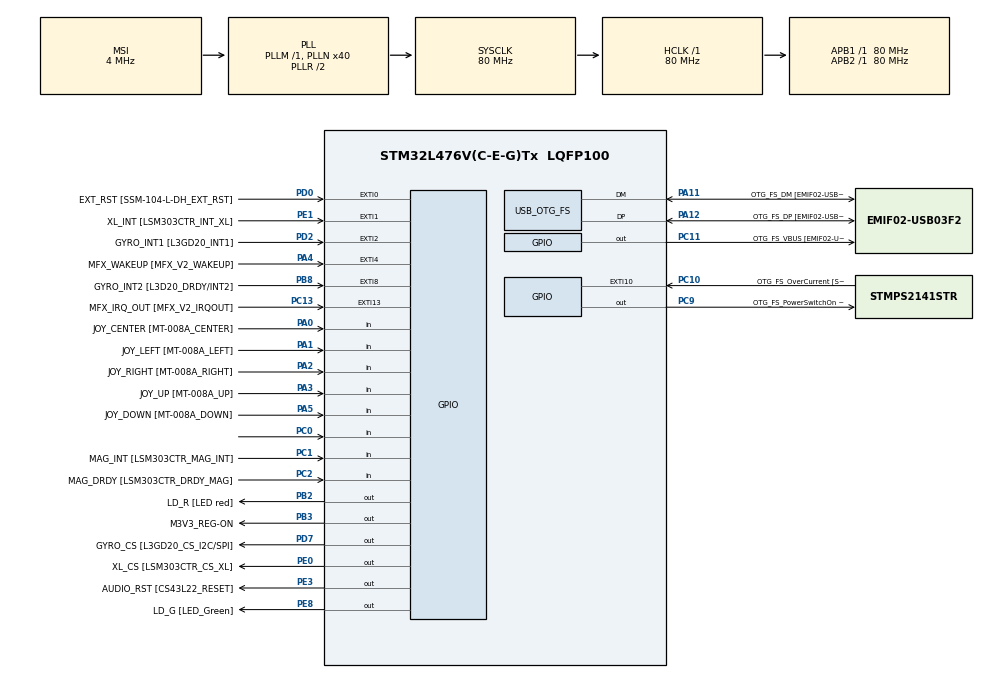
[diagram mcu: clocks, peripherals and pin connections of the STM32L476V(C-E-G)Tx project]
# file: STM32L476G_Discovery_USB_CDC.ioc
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Mcu.Family=STM32L4
Mcu.Name=STM32L476V(C-E-G)Tx
Mcu.Package=LQFP100
NVIC.OTG_FS_IRQn=true\:0\:0\:false\:false\:true
NVIC.PriorityGroup=NVIC_PRIORITYGROUP_4
PA0.GPIO_Label=JOY_CENTER [MT-008A_CENTER]
PA0.GPIO_Mode=GPIO_MODE_INPUT
PA0.GPIO_PuPd=GPIO_PULLDOWN
PA0.Signal=GPIO_Input
PA1.GPIO_Label=JOY_LEFT [MT-008A_LEFT]
PA1.GPIO_Mode=GPIO_MODE_INPUT
PA1.GPIO_PuPd=GPIO_PULLDOWN
PA1.Signal=GPIO_Input
PA10.GPIO_Label=COM2 [GH08172T_COM2]
PA10.GPIO_Mode=GPIO_MODE_AF_PP
PA10.GPIO_PuPd=GPIO_NOPULL
PA10.GPIO_Speed=GPIO_SPEED_FREQ_LOW
PA10.Signal=LCD_COM2
PA11.GPIO_Label=OTG_FS_DM [EMIF02-USB03F2_D-out]
PA11.GPIO_Mode=GPIO_MODE_AF_PP
PA11.GPIO_PuPd=GPIO_NOPULL
PA11.GPIO_Speed=GPIO_SPEED_FREQ_VERY_HIGH
PA11.Mode=Device_Only
PA11.Signal=USB_OTG_FS_DM
PA12.GPIO_Label=OTG_FS_DP [EMIF02-USB03F2_D+out]
PA12.GPIO_Mode=GPIO_MODE_AF_PP
PA12.GPIO_PuPd=GPIO_NOPULL
PA12.GPIO_Speed=GPIO_SPEED_FREQ_VERY_HIGH
PA12.Mode=Device_Only
PA12.Signal=USB_OTG_FS_DP
PA13.GPIO_Label=SWDIO
PA13.Signal=SYS_JTMS-SWDIO
PA14.GPIO_Label=SWCLK
PA14.Signal=SYS_JTCK-SWCLK
PA15.GPIO_Label=SEG10 [GH08172T_SEG10]
PA15.GPIO_Mode=GPIO_MODE_AF_PP
PA15.GPIO_PuPd=GPIO_NOPULL
PA15.GPIO_Speed=GPIO_SPEED_FREQ_LOW
PA15.Signal=LCD_SEG17
PA2.GPIO_Label=JOY_RIGHT [MT-008A_RIGHT]
PA2.GPIO_Mode=GPIO_MODE_INPUT
PA2.GPIO_PuPd=GPIO_PULLDOWN
PA2.Signal=GPIO_Input
PA3.GPIO_Label=JOY_UP [MT-008A_UP]
PA3.GPIO_Mode=GPIO_MODE_INPUT
PA3.GPIO_PuPd=GPIO_PULLDOWN
PA3.Signal=GPIO_Input
PA4.GPIO_Label=MFX_WAKEUP [MFX_V2_WAKEUP]
PA4.GPIO_ModeDefaultEXTI=GPIO_MODE_EVT_RISING
PA4.GPIO_PuPd=GPIO_NOPULL
PA4.Signal=GPXTI4
PA5.GPIO_Label=JOY_DOWN [MT-008A_DOWN]
PA5.GPIO_Mode=GPIO_MODE_INPUT
PA5.GPIO_PuPd=GPIO_PULLDOWN
PA5.Signal=GPIO_Input
PA6.GPIO_Label=SEG23 [GH08172T_SEG23]
PA6.GPIO_Mode=GPIO_MODE_AF_PP
PA6.GPIO_PuPd=GPIO_NOPULL
PA6.GPIO_Speed=GPIO_SPEED_FREQ_LOW
PA6.Signal=LCD_SEG3
PA7.GPIO_Label=SEG0 [GH08172T_SEG0]
PA7.GPIO_Mode=GPIO_MODE_AF_PP
PA7.GPIO_PuPd=GPIO_NOPULL
PA7.GPIO_Speed=GPIO_SPEED_FREQ_LOW
PA7.Signal=LCD_SEG4
PA8.GPIO_Label=COM0 [GH08172T_COM0]
PA8.GPIO_Mode=GPIO_MODE_AF_PP
PA8.GPIO_PuPd=GPIO_NOPULL
PA8.GPIO_Speed=GPIO_SPEED_FREQ_LOW
PA8.Signal=LCD_COM0
PA9.GPIO_Label=COM1 [GH08172T_COM1]
PA9.GPIO_Mode=GPIO_MODE_AF_PP
PA9.GPIO_PuPd=GPIO_NOPULL
PA9.GPIO_Speed=GPIO_SPEED_FREQ_LOW
PA9.Signal=LCD_COM1
PB0.GPIO_Label=SEG21 [GH08172T_SEG21]
PB0.GPIO_Mode=GPIO_MODE_AF_PP
PB0.GPIO_PuPd=GPIO_NOPULL
PB0.GPIO_Speed=GPIO_SPEED_FREQ_LOW
PB0.Signal=LCD_SEG5
PB1.GPIO_Label=SEG2 [GH08172T_SEG2]
PB1.GPIO_Mode=GPIO_MODE_AF_PP
PB1.GPIO_PuPd=GPIO_NOPULL
PB1.GPIO_Speed=GPIO_SPEED_FREQ_LOW
PB1.Signal=LCD_SEG6
PB10.GPIO_Label=MFX_I2C_SLC [MFX_V2_I2C_SCL]
PB10.GPIO_Mode=GPIO_MODE_AF_OD
PB10.GPIO_PuPdOD=GPIO_PULLUP
PB10.GPIO_Speed=GPIO_SPEED_FREQ_VERY_HIGH
PB10.Signal=I2C2_SCL
PB11.GPIO_Label=MFX_I2C_SDA [MFX_V2_I2C_SDA]
PB11.GPIO_Mode=GPIO_MODE_AF_OD
PB11.GPIO_PuPdOD=GPIO_PULLUP
PB11.GPIO_Speed=GPIO_SPEED_FREQ_VERY_HIGH
PB11.Signal=I2C2_SDA
PB12.GPIO_Label=SEG20 [GH08172T_SEG20]
PB12.GPIO_Mode=GPIO_MODE_AF_PP
PB12.GPIO_PuPd=GPIO_NOPULL
PB12.GPIO_Speed=GPIO_SPEED_FREQ_LOW
PB12.Signal=LCD_SEG12
PB13.GPIO_Label=SEG3 [GH08172T_SEG3]
PB13.GPIO_Mode=GPIO_MODE_AF_PP
PB13.GPIO_PuPd=GPIO_NOPULL
PB13.GPIO_Speed=GPIO_SPEED_FREQ_LOW
PB13.Signal=LCD_SEG13
PB14.GPIO_Label=SEG19 [GH08172T_SEG19]
PB14.GPIO_Mode=GPIO_MODE_AF_PP
PB14.GPIO_PuPd=GPIO_NOPULL
PB14.GPIO_Speed=GPIO_SPEED_FREQ_LOW
PB14.Signal=LCD_SEG14
PB15.GPIO_Label=SEG4 [GH08172T_SEG4]
PB15.GPIO_Mode=GPIO_MODE_AF_PP
PB15.GPIO_PuPd=GPIO_NOPULL
PB15.GPIO_Speed=GPIO_SPEED_FREQ_LOW
PB15.Signal=LCD_SEG15
PB2.GPIO_Label=LD_R [LED red]
PB2.GPIO_ModeDefaultOutputPP=GPIO_MODE_OUTPUT_PP
PB2.GPIO_PuPd=GPIO_PULLUP
PB2.GPIO_Speed=GPIO_SPEED_FREQ_VERY_HIGH
PB2.Signal=GPIO_Output
PB3.GPIO_Label=M3V3_REG-ON
PB3.GPIO_ModeDefaultOutputPP=GPIO_MODE_OUTPUT_PP
PB3.GPIO_PuPd=GPIO_NOPULL
PB3.GPIO_Speed=GPIO_SPEED_FREQ_LOW
PB3.Signal=GPIO_Output
PB4.GPIO_Label=SEG11 [GH08172T_SEG11]
PB4.GPIO_Mode=GPIO_MODE_AF_PP
PB4.GPIO_PuPd=GPIO_NOPULL
PB4.GPIO_Speed=GPIO_SPEED_FREQ_LOW
PB4.Signal=LCD_SEG8
PB5.GPIO_Label=SEG12 [GH08172T_SEG12]
PB5.GPIO_Mode=GPIO_MODE_AF_PP
PB5.GPIO_PuPd=GPIO_NOPULL
PB5.GPIO_Speed=GPIO_SPEED_FREQ_LOW
PB5.Signal=LCD_SEG9
PB6.GPIO_FM6=__NULL
PB6.GPIO_Label=I2C1_SCL [SSM-104-L-DH_SCL]
PB6.GPIO_Mode=GPIO_MODE_AF_OD
PB6.GPIO_PuPdOD=GPIO_PULLUP
PB6.GPIO_Speed=GPIO_SPEED_FREQ_VERY_HIGH
PB6.Signal=I2C1_SCL
PB7.GPIO_FM7=__NULL
PB7.GPIO_Label=I2C1_SDA [SSM-104-L-DH_SDA]
PB7.GPIO_Mode=GPIO_MODE_AF_OD
PB7.GPIO_PuPdOD=GPIO_PULLUP
PB7.GPIO_Speed=GPIO_SPEED_FREQ_VERY_HIGH
PB7.Signal=I2C1_SDA
PB8.GPIO_Label=GYRO_INT2 [L3D20_DRDY/INT2]
PB8.GPIO_ModeDefaultEXTI=GPIO_MODE_EVT_RISING
PB8.GPIO_PuPd=GPIO_NOPULL
PB8.Signal=GPXTI8
PB9.GPIO_FM9=__NULL
PB9.GPIO_Label=COM3 [GH08172T_COM3]
PB9.GPIO_Mode=GPIO_MODE_AF_PP
PB9.GPIO_PuPd=GPIO_NOPULL
PB9.GPIO_Speed=GPIO_SPEED_FREQ_LOW
PB9.Signal=LCD_COM3
PC0.Signal=GPIO_Input
PC1.GPIO_Label=MAG_INT [LSM303CTR_MAG_INT]
PC1.GPIO_Mode=GPIO_MODE_INPUT
PC1.GPIO_PuPd=GPIO_NOPULL
PC1.Signal=GPIO_Input
PC10.GPIO_Label=OTG_FS_OverCurrent [STMPS2141STR_FAULT]
PC10.GPIO_ModeDefaultEXTI=GPIO_MODE_EVT_RISING
PC10.GPIO_PuPd=GPIO_NOPULL
PC10.Signal=GPXTI10
PC11.GPIO_Label=OTG_FS_VBUS [EMIF02-USB03F2_Vbus]
PC11.GPIO_ModeDefaultOutputPP=GPIO_MODE_OUTPUT_PP
PC11.GPIO_PuPd=GPIO_NOPULL
PC11.GPIO_Speed=GPIO_SPEED_FREQ_LOW
PC11.Signal=GPIO_Output
PC13.GPIO_Label=MFX_IRQ_OUT [MFX_V2_IRQOUT]
PC13.GPIO_ModeDefaultEXTI=GPIO_MODE_EVT_RISING
PC13.GPIO_PuPd=GPIO_NOPULL
PC13.Signal=GPXTI13
PC14/OSC32_IN.Signal=RCC_OSC32_IN
PC15/OSC32_OUT.Signal=RCC_OSC32_OUT
PC2.GPIO_Label=MAG_DRDY [LSM303CTR_DRDY_MAG]
PC2.GPIO_Mode=GPIO_MODE_INPUT
PC2.GPIO_PuPd=GPIO_NOPULL
PC2.Signal=GPIO_Input
PC3.GPIO_Label=VLCD
PC3.GPIO_Mode=GPIO_MODE_AF_PP
PC3.GPIO_PuPd=GPIO_NOPULL
PC3.GPIO_Speed=GPIO_SPEED_FREQ_LOW
PC3.Signal=LCD_VLCD
PC4.GPIO_Label=SEG22 [GH08172T_SEG22]
PC4.GPIO_Mode=GPIO_MODE_AF_PP
PC4.GPIO_PuPd=GPIO_NOPULL
PC4.GPIO_Speed=GPIO_SPEED_FREQ_LOW
PC4.Signal=LCD_SEG22
PC5.GPIO_Label=SEG1 [GH08172T_SEG1]
PC5.GPIO_Mode=GPIO_MODE_AF_PP
PC5.GPIO_PuPd=GPIO_NOPULL
PC5.GPIO_Speed=GPIO_SPEED_FREQ_LOW
PC5.Signal=LCD_SEG23
PC6.GPIO_Label=SEG14 [GH08172T_SEG14]
PC6.GPIO_Mode=GPIO_MODE_AF_PP
PC6.GPIO_PuPd=GPIO_NOPULL
PC6.GPIO_Speed=GPIO_SPEED_FREQ_LOW
PC6.Signal=LCD_SEG24
PC7.GPIO_Label=SEG9 [GH08172T_SEG9]
PC7.GPIO_Mode=GPIO_MODE_AF_PP
PC7.GPIO_PuPd=GPIO_NOPULL
PC7.GPIO_Speed=GPIO_SPEED_FREQ_LOW
PC7.Signal=LCD_SEG25
PC8.GPIO_Label=SEG13 [GH08172T_SEG13]
PC8.GPIO_Mode=GPIO_MODE_AF_PP
PC8.GPIO_PuPd=GPIO_NOPULL
PC8.GPIO_Speed=GPIO_SPEED_FREQ_LOW
PC8.Signal=LCD_SEG26
PC9.GPIO_Label=OTG_FS_PowerSwitchOn [STMPS2141STR_EN]
PC9.GPIO_ModeDefaultOutputPP=GPIO_MODE_OUTPUT_PP
PC9.GPIO_PuPd=GPIO_NOPULL
PC9.GPIO_Speed=GPIO_SPEED_FREQ_LOW
PC9.Signal=GPIO_Output
PD0.GPIO_Label=EXT_RST [SSM-104-L-DH_EXT_RST]
PD0.GPIO_ModeDefaultEXTI=GPIO_MODE_EVT_RISING
PD0.GPIO_PuPd=GPIO_NOPULL
PD0.Signal=GPXTI0
PD1.GPIO_Label=MEMS_SCK [L3GD20_SCL/SPC]
PD1.GPIO_Mode=GPIO_MODE_AF_PP
PD1.GPIO_PuPd=GPIO_NOPULL
PD1.GPIO_Speed=GPIO_SPEED_FREQ_VERY_HIGH
PD1.Signal=SPI2_SCK
PD10.GPIO_Label=SEG17 [GH08172T_SEG17]
PD10.GPIO_Mode=GPIO_MODE_AF_PP
PD10.GPIO_PuPd=GPIO_NOPULL
PD10.GPIO_Speed=GPIO_SPEED_FREQ_LOW
PD10.Signal=LCD_SEG30
PD11.GPIO_Label=SEG6 [GH08172T_SEG6]
PD11.GPIO_Mode=GPIO_MODE_AF_PP
PD11.GPIO_PuPd=GPIO_NOPULL
PD11.GPIO_Speed=GPIO_SPEED_FREQ_LOW
PD11.Signal=LCD_SEG31
PD12.GPIO_Label=SEG16 [GH08172T_SEG16]
PD12.GPIO_Mode=GPIO_MODE_AF_PP
PD12.GPIO_PuPd=GPIO_NOPULL
PD12.GPIO_Speed=GPIO_SPEED_FREQ_LOW
PD12.Signal=LCD_SEG32
PD13.GPIO_Label=SEG7 [GH08172T_SEG7]
PD13.GPIO_Mode=GPIO_MODE_AF_PP
PD13.GPIO_PuPd=GPIO_NOPULL
PD13.GPIO_Speed=GPIO_SPEED_FREQ_LOW
PD13.Signal=LCD_SEG33
PD14.GPIO_Label=SEG15 [GH08172T_SEG15]
PD14.GPIO_Mode=GPIO_MODE_AF_PP
PD14.GPIO_PuPd=GPIO_NOPULL
PD14.GPIO_Speed=GPIO_SPEED_FREQ_LOW
PD14.Signal=LCD_SEG34
PD15.GPIO_Label=SEG8 [GH08172T_SEG8]
PD15.GPIO_Mode=GPIO_MODE_AF_PP
PD15.GPIO_PuPd=GPIO_NOPULL
PD15.GPIO_Speed=GPIO_SPEED_FREQ_LOW
PD15.Signal=LCD_SEG35
PD2.GPIO_Label=GYRO_INT1 [L3GD20_INT1]
PD2.GPIO_ModeDefaultEXTI=GPIO_MODE_EVT_RISING
PD2.GPIO_PuPd=GPIO_NOPULL
PD2.Signal=GPXTI2
PD3.GPIO_Label=MEMS_MISO [L3GD20_SA0/SDO]
PD3.GPIO_Mode=GPIO_MODE_AF_PP
PD3.GPIO_PuPd=GPIO_NOPULL
PD3.GPIO_Speed=GPIO_SPEED_FREQ_VERY_HIGH
PD3.Signal=SPI2_MISO
PD4.GPIO_Label=MEMS_MOSI [L3GD20_SDA/SDI/SDO]
PD4.GPIO_Mode=GPIO_MODE_AF_PP
PD4.GPIO_PuPd=GPIO_NOPULL
PD4.GPIO_Speed=GPIO_SPEED_FREQ_VERY_HIGH
PD4.Signal=SPI2_MOSI
PD5.GPIO_Label=USART_TX
PD5.GPIO_Mode=GPIO_MODE_AF_PP
PD5.GPIO_PuPd=GPIO_PULLUP
PD5.GPIO_Speed=GPIO_SPEED_FREQ_VERY_HIGH
PD5.Signal=USART2_TX
PD6.GPIO_Label=USART_RX
PD6.GPIO_Mode=GPIO_MODE_AF_PP
PD6.GPIO_PuPd=GPIO_PULLUP
PD6.GPIO_Speed=GPIO_SPEED_FREQ_VERY_HIGH
PD6.Signal=USART2_RX
PD7.GPIO_Label=GYRO_CS [L3GD20_CS_I2C/SPI]
PD7.GPIO_ModeDefaultOutputPP=GPIO_MODE_OUTPUT_PP
PD7.GPIO_PuPd=GPIO_NOPULL
PD7.GPIO_Speed=GPIO_SPEED_FREQ_VERY_HIGH
PD7.Signal=GPIO_Output
PD8.GPIO_Label=SEG18 [GH08172T_SEG18]
PD8.GPIO_Mode=GPIO_MODE_AF_PP
PD8.GPIO_PuPd=GPIO_NOPULL
PD8.GPIO_Speed=GPIO_SPEED_FREQ_LOW
PD8.Signal=LCD_SEG28
PD9.GPIO_Label=SEG5 [GH08172T_SEG5]
PD9.GPIO_Mode=GPIO_MODE_AF_PP
PD9.GPIO_PuPd=GPIO_NOPULL
PD9.GPIO_Speed=GPIO_SPEED_FREQ_LOW
PD9.Signal=LCD_SEG29
PE0.GPIO_Label=XL_CS [LSM303CTR_CS_XL]
PE0.GPIO_ModeDefaultOutputPP=GPIO_MODE_OUTPUT_PP
PE0.GPIO_PuPd=GPIO_NOPULL
PE0.GPIO_Speed=GPIO_SPEED_FREQ_LOW
PE0.Signal=GPIO_Output
PE1.GPIO_Label=XL_INT [LSM303CTR_INT_XL]
PE1.GPIO_ModeDefaultEXTI=GPIO_MODE_EVT_RISING
PE1.GPIO_PuPd=GPIO_NOPULL
PE1.Signal=GPXTI1
PE10.GPIO_Label=QSPI_CLK [N25Q128A13EF840E_C]
PE10.GPIO_Mode=GPIO_MODE_AF_PP
PE10.GPIO_PuPd=GPIO_NOPULL
PE10.GPIO_Speed=GPIO_SPEED_FREQ_VERY_HIGH
PE10.Signal=QUADSPI_CLK
PE11.GPIO_Label=QSPI_CS [N25Q128A13EF840E_S\#]
PE11.GPIO_Mode=GPIO_MODE_AF_PP
PE11.GPIO_PuPd=GPIO_NOPULL
PE11.GPIO_Speed=GPIO_SPEED_FREQ_VERY_HIGH
PE11.Signal=QUADSPI_NCS
PE12.GPIO_Label=QSPI_D0 [N25Q128A13EF840E_DQ0]
PE12.GPIO_Mode=GPIO_MODE_AF_PP
PE12.GPIO_PuPd=GPIO_NOPULL
PE12.GPIO_Speed=GPIO_SPEED_FREQ_VERY_HIGH
PE12.Signal=QUADSPI_BK1_IO0
PE13.GPIO_Label=QSPI_D1 [N25Q128A13EF840E_DQ1]
PE13.GPIO_Mode=GPIO_MODE_AF_PP
PE13.GPIO_PuPd=GPIO_NOPULL
PE13.GPIO_Speed=GPIO_SPEED_FREQ_VERY_HIGH
PE13.Signal=QUADSPI_BK1_IO1
PE14.GPIO_Label=QSPI_D2 [N25Q128A13EF840E_DQ2]
PE14.GPIO_Mode=GPIO_MODE_AF_PP
PE14.GPIO_PuPd=GPIO_NOPULL
PE14.GPIO_Speed=GPIO_SPEED_FREQ_VERY_HIGH
PE14.Signal=QUADSPI_BK1_IO2
PE15.GPIO_Label=QSPI_D3 [N25Q128A13EF840E_DQ3]
PE15.GPIO_Mode=GPIO_MODE_AF_PP
PE15.GPIO_PuPd=GPIO_NOPULL
PE15.GPIO_Speed=GPIO_SPEED_FREQ_VERY_HIGH
PE15.Signal=QUADSPI_BK1_IO3
PE2.GPIO_Label=SAI1_MCK [CS43L22_MCLK]
PE2.GPIO_Mode=GPIO_MODE_AF_PP
PE2.GPIO_PuPd=GPIO_NOPULL
PE2.GPIO_Speed=GPIO_SPEED_FREQ_VERY_HIGH
PE2.Signal=SAI1_MCLK_A
PE3.GPIO_Label=AUDIO_RST [CS43L22_RESET]
PE3.GPIO_ModeDefaultOutputPP=GPIO_MODE_OUTPUT_PP
PE3.GPIO_PuPd=GPIO_NOPULL
PE3.GPIO_Speed=GPIO_SPEED_FREQ_HIGH
PE3.Signal=GPIO_Output
PE4.GPIO_Label=SAI1_FS [CS43L22_LRCK]
PE4.GPIO_Mode=GPIO_MODE_AF_PP
PE4.GPIO_PuPd=GPIO_NOPULL
PE4.GPIO_Speed=GPIO_SPEED_FREQ_VERY_HIGH
PE4.Signal=SAI1_FS_A
PE5.GPIO_Label=SAI1_SCK [CS43L22_SCLK]
PE5.GPIO_Mode=GPIO_MODE_AF_PP
PE5.GPIO_PuPd=GPIO_NOPULL
PE5.GPIO_Speed=GPIO_SPEED_FREQ_VERY_HIGH
PE5.Signal=SAI1_SCK_A
PE6.GPIO_Label=SAI1_SD [CS43L22_SDIN]
PE6.GPIO_Mode=GPIO_MODE_AF_PP
PE6.GPIO_PuPd=GPIO_NOPULL
PE6.GPIO_Speed=GPIO_SPEED_FREQ_VERY_HIGH
PE6.Signal=SAI1_SD_A
PE7.GPIO_Label=AUDIO_DIN [MP34DT01_DOUT]
PE7.GPIO_Mode=GPIO_MODE_AF_PP
PE7.GPIO_PuPd=GPIO_NOPULL
PE7.GPIO_Speed=GPIO_SPEED_FREQ_VERY_HIGH
PE7.Signal=SAI1_SD_B
PE8.GPIO_Label=LD_G [LED_Green]
PE8.GPIO_ModeDefaultOutputPP=GPIO_MODE_OUTPUT_PP
PE8.GPIO_PuPd=GPIO_PULLUP
PE8.GPIO_Speed=GPIO_SPEED_FREQ_VERY_HIGH
PE8.Signal=GPIO_Output
PE9.GPIO_Label=AUDIO_CLK [MP34DT01_CLK]
PE9.GPIO_Mode=GPIO_MODE_AF_PP
PE9.GPIO_PuPd=GPIO_NOPULL
PE9.GPIO_Speed=GPIO_SPEED_FREQ_LOW
PE9.Signal=SAI1_FS_B
PH0/OSC_IN.Signal=RCC_OSC_IN
PH1/OSC_OUT.Signal=RCC_OSC_OUT
ProjectManager.HeapSize=0x200
ProjectManager.StackSize=0x400
ProjectManager.TargetToolchain=SW4STM32
RCC.ADCFreq_Value=48000000
RCC.AHBFreq_Value=80000000
RCC.APB1Freq_Value=80000000
RCC.APB1TimFreq_Value=80000000
RCC.APB2Freq_Value=80000000
RCC.APB2TimFreq_Value=80000000
RCC.CortexFreq_Value=80000000
RCC.HCLKFreq_Value=80000000
RCC.HSE_VALUE=8000000
RCC.HSI_VALUE=16000000
RCC.LSE_VALUE=32768
RCC.MSI_VALUE=4000000
RCC.PLLN=40
RCC.PLLSAI1N=24
RCC.PREFETCH_ENABLE=1
RCC.SYSCLKFreq_VALUE=80000000
RCC.SYSCLKSource=RCC_SYSCLKSOURCE_PLLCLK
RCC.USBFreq_Value=48000000
RCC.VCOOutputFreq_Value=160000000
USB_DEVICE.CLASS_NAME_FS=CDC
USB_DEVICE.USBD_HandleTypeDef=hUsbDeviceFS
USB_DEVICE.USBD_LPM_ENABLED=0
USB_DEVICE.VirtualMode=Cdc
USB_DEVICE.VirtualModeFS=Cdc_FS
USB_OTG_FS.VirtualMode=Device_Only
USB_OTG_FS.vbus_sensing_enable=DISABLE
VP_USB_DEVICE_VS_USB_DEVICE_CDC_FS.Mode=CDC_FS
board=STM32L476G-DISCO

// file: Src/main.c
/**
  ******************************************************************************
  * File Name          : main.c
  * Description        : Main program body
  ******************************************************************************
  *
  * COPYRIGHT(c) 2016 STMicroelectronics
  *
  * Redistribution and use in source and binary forms, with or without modification,
  * are permitted provided that the following conditions are met:
  *   1. Redistributions of source code must retain the above copyright notice,
  *      this list of conditions and the following disclaimer.
  *   2. Redistributions in binary form must reproduce the above copyright notice,
  *      this list of conditions and the following disclaimer in the documentation
  *      and/or other materials provided with the distribution.
  *   3. Neither the name of STMicroelectronics nor the names of its contributors
  *      may be used to endorse or promote products derived from this software
  *      without specific prior written permission.
  *
  * THIS SOFTWARE IS PROVIDED BY THE COPYRIGHT HOLDERS AND CONTRIBUTORS "AS IS"
  * AND ANY EXPRESS OR IMPLIED WARRANTIES, INCLUDING, BUT NOT LIMITED TO, THE
  * IMPLIED WARRANTIES OF MERCHANTABILITY AND FITNESS FOR A PARTICULAR PURPOSE ARE
  * DISCLAIMED. IN NO EVENT SHALL THE COPYRIGHT HOLDER OR CONTRIBUTORS BE LIABLE
  * FOR ANY DIRECT, INDIRECT, INCIDENTAL, SPECIAL, EXEMPLARY, OR CONSEQUENTIAL
  * DAMAGES (INCLUDING, BUT NOT LIMITED TO, PROCUREMENT OF SUBSTITUTE GOODS OR
  * SERVICES; LOSS OF USE, DATA, OR PROFITS; OR BUSINESS INTERRUPTION) HOWEVER
  * CAUSED AND ON ANY THEORY OF LIABILITY, WHETHER IN CONTRACT, STRICT LIABILITY,
  * OR TORT (INCLUDING NEGLIGENCE OR OTHERWISE) ARISING IN ANY WAY OUT OF THE USE
  * OF THIS SOFTWARE, EVEN IF ADVISED OF THE POSSIBILITY OF SUCH DAMAGE.
  *
  ******************************************************************************
  */
#include "stm32l4xx_hal.h"
#include "usb_device.h"
#include "gpio.h"

/* USER CODE BEGIN Includes */
#include <stdio.h>
#include <stdlib.h>
/* USER CODE END Includes */

/* USER CODE BEGIN PV */
/* Private variables ---------------------------------------------------------*/

/* USER CODE END PV */

void SystemClock_Config(void);
void Error_Handler(void);

/* USER CODE BEGIN PFP */
/* Private function prototypes -----------------------------------------------*/
void delay_ms(unsigned long x);
/* USER CODE END PFP */

int main(void)
{

  /* USER CODE BEGIN 1 */
  initialise_monitor_handles();                        //to enable debug printf()

  uint8_t rxData[5]={0};                               //RX data buffer
  /* USER CODE END 1 */

  /* MCU Configuration----------------------------------------------------------*/

  /* Reset of all peripherals, Initializes the Flash interface and the Systick. */
  HAL_Init();

  /* Configure the system clock */
  SystemClock_Config();

  /* Initialize all configured peripherals */
  MX_GPIO_Init();
  MX_USB_DEVICE_Init();

  /* USER CODE BEGIN 2 */
  printf("USB CDC Program\n");
  /* USER CODE END 2 */

  /* Infinite loop */
  /* USER CODE BEGIN WHILE */
  while (1)
  {
	CDC_Transmit_FS("Hello\n", 6);                 //send 6 bytes via USB

	//get bytes via USB
	//pointer to data length is NULL as it is not used internally in the implementation
	CDC_Receive_FS(rxData, NULL);
	printf("%s\n", rxData);

	delay_ms(1000);
  /* USER CODE END WHILE */

  }

}

/** System Clock Configuration
*/
void SystemClock_Config(void)
{

  RCC_OscInitTypeDef RCC_OscInitStruct;
  RCC_ClkInitTypeDef RCC_ClkInitStruct;
  RCC_PeriphCLKInitTypeDef PeriphClkInit;

  RCC_OscInitStruct.OscillatorType = RCC_OSCILLATORTYPE_LSE|RCC_OSCILLATORTYPE_MSI;
  RCC_OscInitStruct.LSEState = RCC_LSE_OFF;
  RCC_OscInitStruct.MSIState = RCC_MSI_ON;
  RCC_OscInitStruct.MSICalibrationValue = 0;
  RCC_OscInitStruct.MSIClockRange = RCC_MSIRANGE_6;
  RCC_OscInitStruct.PLL.PLLState = RCC_PLL_ON;
  RCC_OscInitStruct.PLL.PLLSource = RCC_PLLSOURCE_MSI;
  RCC_OscInitStruct.PLL.PLLM = 1;
  RCC_OscInitStruct.PLL.PLLN = 40;
  RCC_OscInitStruct.PLL.PLLP = RCC_PLLP_DIV7;
  RCC_OscInitStruct.PLL.PLLQ = RCC_PLLQ_DIV2;
  RCC_OscInitStruct.PLL.PLLR = RCC_PLLR_DIV2;
  if (HAL_RCC_OscConfig(&RCC_OscInitStruct) != HAL_OK)
  {
    Error_Handler();
  }

  RCC_ClkInitStruct.ClockType = RCC_CLOCKTYPE_HCLK|RCC_CLOCKTYPE_SYSCLK
                              |RCC_CLOCKTYPE_PCLK1|RCC_CLOCKTYPE_PCLK2;
  RCC_ClkInitStruct.SYSCLKSource = RCC_SYSCLKSOURCE_PLLCLK;
  RCC_ClkInitStruct.AHBCLKDivider = RCC_SYSCLK_DIV1;
  RCC_ClkInitStruct.APB1CLKDivider = RCC_HCLK_DIV1;
  RCC_ClkInitStruct.APB2CLKDivider = RCC_HCLK_DIV1;
  if (HAL_RCC_ClockConfig(&RCC_ClkInitStruct, FLASH_LATENCY_4) != HAL_OK)
  {
    Error_Handler();
  }

  PeriphClkInit.PeriphClockSelection = RCC_PERIPHCLK_USB;
  PeriphClkInit.UsbClockSelection = RCC_USBCLKSOURCE_PLLSAI1;
  PeriphClkInit.PLLSAI1.PLLSAI1Source = RCC_PLLSOURCE_MSI;
  PeriphClkInit.PLLSAI1.PLLSAI1M = 1;
  PeriphClkInit.PLLSAI1.PLLSAI1N = 24;
  PeriphClkInit.PLLSAI1.PLLSAI1P = RCC_PLLP_DIV7;
  PeriphClkInit.PLLSAI1.PLLSAI1Q = RCC_PLLQ_DIV2;
  PeriphClkInit.PLLSAI1.PLLSAI1R = RCC_PLLR_DIV2;
  PeriphClkInit.PLLSAI1.PLLSAI1ClockOut = RCC_PLLSAI1_48M2CLK;
  if (HAL_RCCEx_PeriphCLKConfig(&PeriphClkInit) != HAL_OK)
  {
    Error_Handler();
  }

  __HAL_RCC_PWR_CLK_ENABLE();

  if (HAL_PWREx_ControlVoltageScaling(PWR_REGULATOR_VOLTAGE_SCALE1) != HAL_OK)
  {
    Error_Handler();
  }

  HAL_SYSTICK_Config(HAL_RCC_GetHCLKFreq()/1000);

  HAL_SYSTICK_CLKSourceConfig(SYSTICK_CLKSOURCE_HCLK);

  HAL_RCCEx_EnableMSIPLLMode();

  /* SysTick_IRQn interrupt configuration */
  HAL_NVIC_SetPriority(SysTick_IRQn, 0, 0);
}

/* USER CODE BEGIN 4 */
//delay milliseconds function
void delay_ms(unsigned long x)
{
  unsigned long i;
  unsigned int j;
  for(i=0; i<x; i++)
  {
	for(j=0; j<8000; j++)
	{
	   asm("NOP");
	}
  }
}
/* USER CODE END 4 */

void Error_Handler(void)
{
  while(1)
  {
  }
}

/************************ (C) COPYRIGHT STMicroelectronics *****END OF FILE****/
